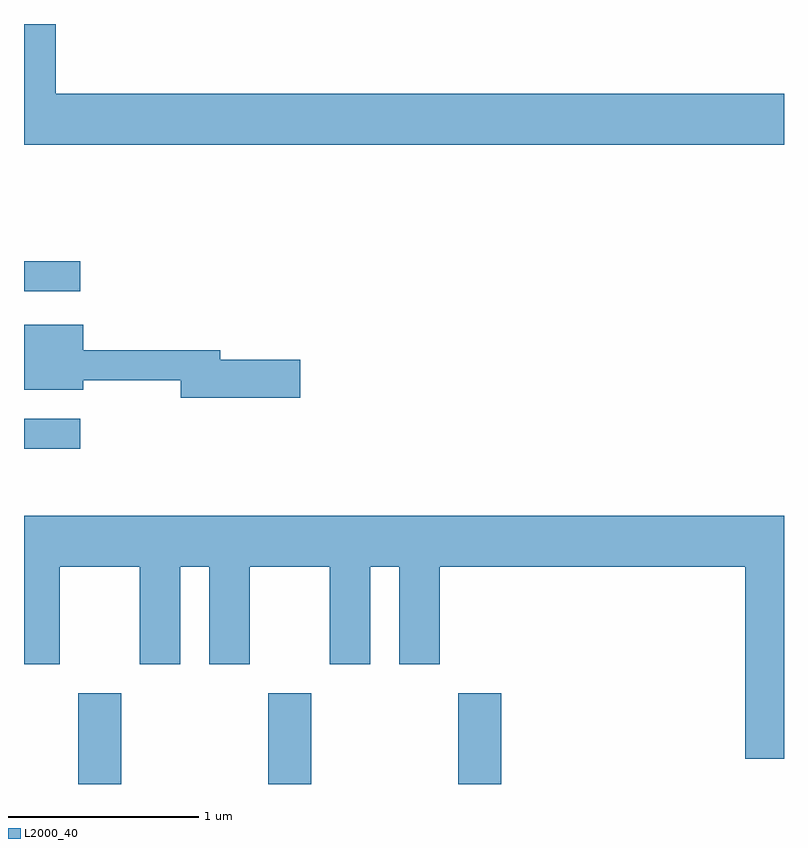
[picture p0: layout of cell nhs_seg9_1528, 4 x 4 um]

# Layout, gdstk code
import gdstk
lib = gdstk.Library(unit=1e-6, precision=1e-09)
def R(c, l, rs):  # rectangles x0, y0, x1, y1
    for r in rs: c.add(gdstk.rectangle(r[:2], r[2:], *l))
def A(c, l, x, y, w, h, nx, ny, dx, dy):  # array of equal rectangles
    R(c, l, [(x+i*dx, y+j*dy, x+i*dx+w, y+j*dy+h) for i in range(nx) for j in range(ny)])
def P(c, l, *ps):  # polygons
    for p in ps: c.add(gdstk.Polygon(p, *l))
L2000_40 = (2000, 40)

nhs_seg9_1528 = lib.new_cell('nhs_seg9_1528')
A(nhs_seg9_1528, L2000_40, 229.896, 2008.432, 0.228, 0.477, 3, 1, 1, 0)
R(nhs_seg9_1528, L2000_40, [(229.611,2010.196,229.908,2010.354), (229.611,2011.026,229.908,2011.184)])
P(nhs_seg9_1528, L2000_40, [(233.611,2012.064),(229.779,2012.064),(229.779,2012.432),(229.611,2012.432),(229.611,2011.796),(233.611,2011.796)],
  [(231.064,2010.664),(230.644,2010.664),(230.644,2010.714),(229.924,2010.714),(229.924,2010.849),(229.611,2010.849),(229.611,2010.506),(229.924,2010.506),(229.924,2010.556),(230.436,2010.556),(230.436,2010.466),(231.064,2010.466)],
  [(233.611,2009.844),(229.611,2009.844),(229.611,2009.061),(229.799,2009.061),(229.799,2009.576),(230.221,2009.576),(230.221,2009.061),(230.434,2009.061),(230.434,2009.576),(230.586,2009.576),(230.586,2009.061),(230.799,2009.061),(230.799,2009.576),(231.221,2009.576),(231.221,2009.061),(231.434,2009.061),(231.434,2009.576),(231.586,2009.576),(231.586,2009.061),(231.799,2009.061),(231.799,2009.576),(233.406,2009.576),(233.406,2008.566),(233.611,2008.566)])

lib.write_gds('nhs_seg9_1528.gds')
